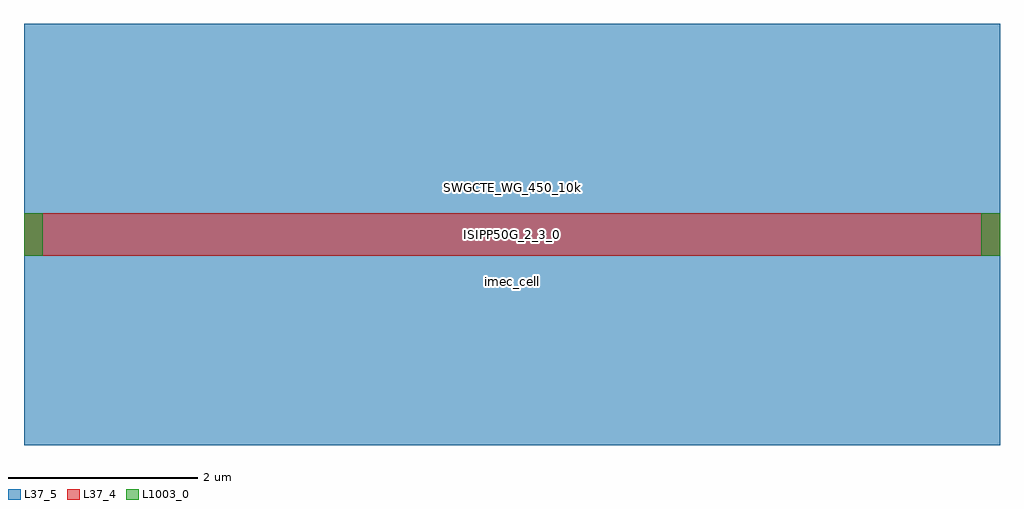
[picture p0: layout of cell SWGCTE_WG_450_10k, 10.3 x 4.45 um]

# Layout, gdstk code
import gdstk
lib = gdstk.Library(unit=1e-6, precision=1e-09)
def R(c, l, rs):  # rectangles x0, y0, x1, y1
    for r in rs: c.add(gdstk.rectangle(r[:2], r[2:], *l))
L37_4 = (37, 4)
L37_5 = (37, 5)
L1003_0 = (1003, 0)

swgcte_wg_450_10k = lib.new_cell('SWGCTE_WG_450_10k')
R(swgcte_wg_450_10k, L37_4, [(-0.15,-0.225,0,0.225), (0,-0.225,10,0.225), (10,-0.225,10.15,0.225)])
R(swgcte_wg_450_10k, L37_5, [(-0.15,-2.225,0,2.225), (0,-2.225,10,2.225), (10,-2.225,10.15,2.225)])
R(swgcte_wg_450_10k, L1003_0, [(-0.15,-0.225,0,0.225), (0,-0.225,0.05,0.225), (9.95,-0.225,10,0.225), (10,-0.225,10.15,0.225)])
swgcte_wg_450_10k.add(gdstk.Label('SWGCTE_WG_450_10k', (5,0.5), layer=1002, texttype=0))
swgcte_wg_450_10k.add(gdstk.Label('ISIPP50G_2_3_0', (5,0), layer=1002, texttype=0))
swgcte_wg_450_10k.add(gdstk.Label('imec_cell', (5,-0.5), layer=1002, texttype=0))

lib.write_gds('SWGCTE_WG_450_10k.gds')
